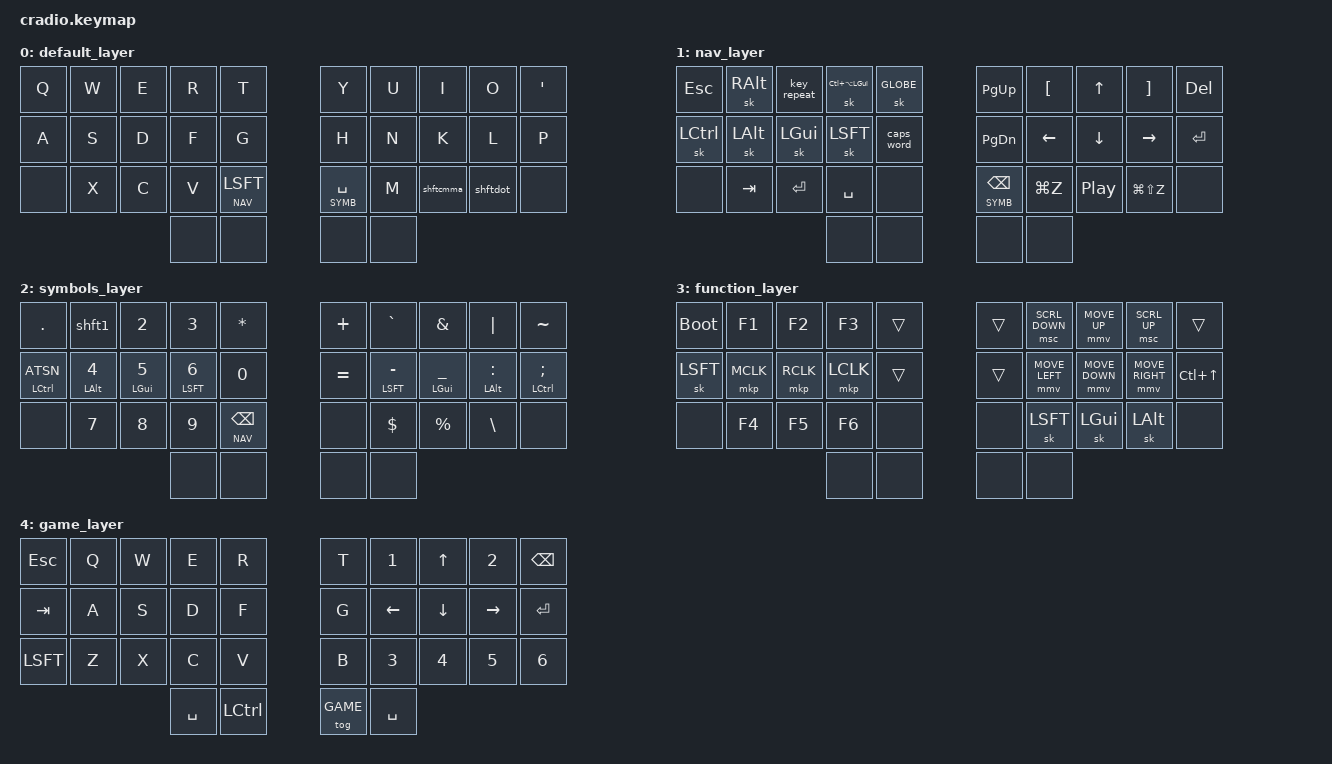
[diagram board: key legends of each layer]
/*
 * Copyright (c) 2020 The ZMK Contributors
 *
 * SPDX-License-Identifier: MIT
 */

#include <behaviors.dtsi>
#include <dt-bindings/zmk/keys.h>
#include <dt-bindings/zmk/bt.h>

#define ZMK_POINTING_DEFAULT_MOVE_VAL 1800
#define ZMK_POINTING_DEFAULT_SCRL_VAL 20
#include <dt-bindings/zmk/pointing.h>
#include <dt-bindings/zmk/mouse.h>

#define DEFAULT 0
#define NAV 1
#define SYMB 2
#define FUNC 3
#define GAME 4

&lt {
  quick-tap-ms = <200>;
};

&sk {
  release-after-ms = <500>;
  quick-release;
};

&sl {
  release-after-ms = <500>;
};

&mmv {
  // trigger-period-ms = <2>;
  // time-to-max-speed-ms = <2>;
  acceleration-exponent = <1>;
};

/ { 

  combos {
    compatible = "zmk,combos";
    z {
      timeout-ms = <50>;
      key-positions = <11 12>;
      bindings = <&kp Z>;
      layers = <DEFAULT>;
    };
    b {
      timeout-ms = <50>;
      key-positions = <12 13>;
      bindings = <&kp B>;
      layers = <DEFAULT>;
    };
    cmd {
      timeout-ms = <50>;
      key-positions = <6 7>;
      bindings = <&sk LGUI>;
      layers = <DEFAULT>;
    };
    shrtct {
      timeout-ms = <50>;
      key-positions = <7 8>;
      bindings = <&sk LC(LA(LGUI))>;
      layers = <DEFAULT>;
    };
    j {
      timeout-ms = <50>;
      key-positions = <16 17>;
      bindings = <&kp J>;
      layers = <DEFAULT>;
    };
    slash {
      timeout-ms = <50>;
      key-positions = <17 18>;
      bindings = <&kp FSLH>;
      layers = <DEFAULT>;
    };

    britup {
      timeout-ms = <50>;
      key-positions = <1 2 3>;
      bindings = <&kp C_BRI_UP>;
      layers = <DEFAULT>;
    };
    britdn {
      timeout-ms = <50>;
      key-positions = <21 22 23>;
      bindings = <&kp C_BRI_DN>;
      layers = <DEFAULT>;
    };
    volup {
      timeout-ms = <50>;
      key-positions = <6 7 8>;
      bindings = <&kp C_VOL_UP>;
      layers = <DEFAULT>;
    };
    volmt {
      timeout-ms = <50>;
      key-positions = <16 17 18>;
      bindings = <&kp C_MUTE>;
      layers = <DEFAULT>;
    };
    voldn {
      timeout-ms = <50>;
      key-positions = <26 27 28>;
      bindings = <&kp C_VOL_DN>;
      layers = <DEFAULT>;
    };

    bksp {
      timeout-ms = <50>;
      key-positions = <22 23>;
      bindings = <&kp BKSP>;
      layers = <NAV>;
    };
    codeprev {
      timeout-ms = <50>;
      key-positions = <6 7>;
      bindings = <&kp LC(MINUS)>;
      layers = <NAV>;
    };
    codenext {
      timeout-ms = <50>;
      key-positions = <7 8>;
      bindings = <&kp LC(LS(MINUS))>;
      layers = <NAV>;
    };
    prev {
      timeout-ms = <50>;
      key-positions = <26 27>;
      bindings = <&kp C_PREV>;
      layers = <NAV>;
    };
    next {
      timeout-ms = <50>;
      key-positions = <27 28>;
      bindings = <&kp C_NEXT>;
      layers = <NAV>;
    };

    lpar {
      timeout-ms = <50>;
      key-positions = <12 13>;
      bindings = <&kp LPAR>;
      layers = <SYMB>;
    };
    rpar {
      timeout-ms = <50>;
      key-positions = <16 17>;
      bindings = <&kp RPAR>;
      layers = <SYMB>;
    };
    lbrc {
      timeout-ms = <50>;
      key-positions = <2 3>;
      bindings = <&kp LBRC>;
      layers = <SYMB>;
    };
    rbrc {
      timeout-ms = <50>;
      key-positions = <6 7>;
      bindings = <&kp RBRC>;
      layers = <SYMB>;
    };
    lbkt {
      timeout-ms = <50>;
      key-positions = <11 12>;
      bindings = <&kp LBKT>;
      layers = <SYMB>;
    };
    rbkt {
      timeout-ms = <50>;
      key-positions = <17 18>;
      bindings = <&kp RBKT>;
      layers = <SYMB>;
    };
    lt {
      timeout-ms = <50>;
      key-positions = <1 2>;
      bindings = <&kp LT>;
      layers = <SYMB>;
    };
    gt {
      timeout-ms = <50>;
      key-positions = <7 8>;
      bindings = <&kp GT>;
      layers = <SYMB>;
    };

    btclr {
      timeout-ms = <50>;
      key-positions = <10 19>;
      bindings = <&bt BT_CLR>;
      layers = <FUNC>;
    };
    btsel0 {
      timeout-ms = <50>;
      key-positions = <2 3>;
      bindings = <&bt BT_SEL 0>;
      layers = <FUNC>;
    };
    btnxt {
      timeout-ms = <50>;
      key-positions = <12 13>;
      bindings = <&bt BT_NXT>;
      layers = <FUNC>;
    };
    scrl_left {
      timeout-ms = <50>;
      key-positions = <7 8>;
      bindings = <&msc SCRL_LEFT>;
      layers = <FUNC>;
    };
    scrl_right {
      timeout-ms = <50>;
      key-positions = <6 7>;
      bindings = <&msc SCRL_RIGHT>;
      layers = <FUNC>;
    };
  };

  behaviors {
    hrml: home_row_mod_left {
      compatible = "zmk,behavior-hold-tap";
      flavor = "balanced";
      hold-trigger-key-positions = <5 6 7 8 9 15 16 17 18 19 25 26 27 28 29 30 31 32 33>;
      hold-trigger-on-release;
      tapping-term-ms = <300>;
      #binding-cells = <2>;
      bindings = <&kp>, <&kp>;
    };
    hrmr: home_row_mod_right {
      compatible = "zmk,behavior-hold-tap";
      flavor = "balanced";
      hold-trigger-key-positions = <0 1 2 3 4 10 11 12 13 14 20 21 22 23 24 30 31 32 33>;
      hold-trigger-on-release;
      tapping-term-ms = <300>;
      #binding-cells = <2>;
      bindings = <&kp>, <&kp>;
    };

    lm: layer_mod {
      compatible = "zmk,behavior-hold-tap";
      #binding-cells = <2>;
      flavor = "hold-preferred";
      tapping-term-ms = <150>;
      bindings = <&mo>, <&sk>;
    };

    shftcmma: shift_comma {
      compatible = "zmk,behavior-mod-morph";
      #binding-cells = <0>;
      bindings = <&kp CMMA>, <&kp QMARK>;
      mods = <(MOD_LSFT)>;
    };
    shftdot: shift_dot {
      compatible = "zmk,behavior-mod-morph";
      #binding-cells = <0>;
      bindings = <&kp DOT>, <&kp BANG>;
      mods = <(MOD_LSFT)>;
    };
    shftslash: shift_slash {
      compatible = "zmk,behavior-mod-morph";
      #binding-cells = <0>;
      bindings = <&kp FSLH>, <&kp UNDER>;
      mods = <(MOD_LSFT)>;
    };
    shft1: shift_1 {
      compatible = "zmk,behavior-mod-morph";
      #binding-cells = <0>;
      bindings = <&kp N1>, <&kp COMMA>;
      mods = <(MOD_LSFT)>;
    };

    conditional_layers {
      compatible = "zmk,conditional-layers";
      tri_layer {
        if-layers = <NAV SYMB>;
        then-layer = <FUNC>;
      };
    };
  };

  keymap {
    compatible = "zmk,keymap";
    default_layer {
      bindings = <
        &kp Q  &kp W  &kp E  &kp R  &kp T                       &kp Y  &kp U  &kp I  &kp O  &kp QUOT 
        &kp A  &kp S  &kp D  &kp F  &kp G                       &kp H  &kp N  &kp K  &kp L  &kp P
        &none  &kp X  &kp C  &kp V  &lm NAV LSFT       &lt SYMB SPACE  &kp M  &shftcmma  &shftdot  &none
                              &none  &none           &none  &none
      >;
    };

    nav_layer {
      bindings = <
        &kp ESC  &sk RALT  &key_repeat  &sk LC(LA(LGUI))  &sk GLOBE                 &kp PG_UP   &kp LBKT        &kp UP          &kp RBKT        &kp DEL 
        &sk LCTL  &sk LALT  &sk LGUI    &sk LSFT  &caps_word                &kp PG_DN     &kp LEFT        &kp DOWN        &kp RIGHT       &kp ENTER
        &none   &kp TAB   &kp ENTER   &kp SPC   &none                    &lt SYMB BKSP   &kp LG(Z)      &kp C_PP        &kp LG(LS(Z))      &none 
                                                  &none  &none            &none  &none
      >;
    };
      
    symbols_layer {
      bindings = <
        &kp DOT       &shft1  &kp N2  &kp N3  &kp STAR                                   &kp PLUS   &kp GRAV   &kp AMPS   &kp PIPE   &kp TILDE  
        &hrml LCTL ATSN  &hrml LALT N4  &hrml LGUI N5  &hrml LSFT N6  &kp N0       &kp EQUAL  &hrmr LSFT MINUS  &hrmr LGUI UNDER   &hrmr LALT COLON  &hrmr LCTL SEMI  
        &none      &kp N7  &kp N8  &kp N9  &lt NAV BKSP                                   &none  &kp DOLLAR  &kp PERCENT  &kp BSLH  &none
                                   &none  &none                                   &none  &none
      >;
    };

    function_layer {
      bindings = <
        &bootloader  &kp F1    &kp F2      &kp F3    &trans        &trans   &msc SCRL_DOWN  &mmv MOVE_UP     &msc SCRL_UP    &trans
        &sk LSFT   &mkp MCLK    &mkp RCLK   &mkp LCLK  &trans      &trans   &mmv MOVE_LEFT  &mmv MOVE_DOWN   &mmv MOVE_RIGHT  &kp LC(UP)  
        &none    &kp F4    &kp F5      &kp F6  &none              &none    &sk LSFT        &sk LGUI         &sk LALT        &none
                                          &none  &none            &none  &none  
      >;
    };

    game_layer {
      bindings = <
        &kp ESC  &kp Q  &kp W  &kp E  &kp R             &kp T  &kp N1  &kp UP  &kp N2  &kp BKSP 
        &kp TAB  &kp A  &kp S  &kp D  &kp F             &kp G  &kp LEFT  &kp DOWN  &kp RIGHT  &kp ENTER
        &kp LSFT  &kp Z  &kp X  &kp C  &kp V            &kp B  &kp N3  &kp N4  &kp N5  &kp N6
                          &kp SPC  &kp LCTL             &tog GAME  &kp SPC
        >;
    };
  };
};
